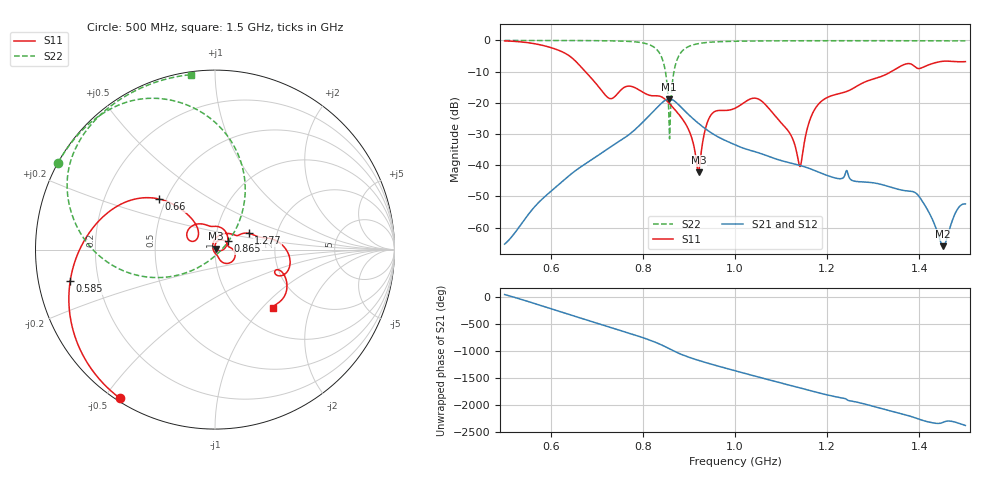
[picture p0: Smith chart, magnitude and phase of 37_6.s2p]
! TOUCHSTONE file generated by CST MICROWAVE STUDIO
! Date and time: Fri Oct  2 19:02:30 2020
! Project name: Scenario_1_Free_Space_out_of_line.cst
! Parameters = {Lambda=346.42; Step_1=17.321; dy1=-276.636; dx1=1039; L_HA=400; MT=2.54; Rad_Dielectric=30; Rad_Lower=7.3; Rad_Upper=30; a_HA=580; a_WG=246; b_HA=500; b_WG=121; c_HA=0; c_WG=187; d_feed=85; h_feed=15; h_lower=18; h_upper=40}
! Header version: 2018
! Port assignment regex: !\s*Touchstone port\s*([0-9]+)\s*=\s*(CST MWS port|CST DS port)\s*([0-9]+|Zmin|Zmax)\s*\(\"(.*)\"\)(\s*mode\s*([0-9]+))?.*
! Touchstone port assignment:
! Touchstone port 1 = CST MWS port 1 ("")
! Touchstone port 2 = CST MWS port 2 ("")
# GHz S DB R 50
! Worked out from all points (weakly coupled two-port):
!   1003 points, 500 MHz to 1.5 GHz, reference 50 ohm
!   highest |S21| = -18.76 dB at 857 MHz (marker M1); lowest = -65.9 dB at 1.452 GHz (marker M2)
!   lowest |S11| = -42.2 dB at 921 MHz (marker M3), VSWR 1.02, Z = 50.6 + j0.536 ohm
!   |S11| at or under -10 dB: 675.3 MHz to 1.339 GHz (663.7 MHz wide, 65.9 % of centre)
!   |S22| runs from -31.5 to 0.0 dB; largest |S21 - S12| = 0.00047
!   S11 on the Smith chart (normalised r, x): 500 MHz: 0.01, -0.55; 585 MHz: 0.10, -0.11; 660 MHz: 0.46, +0.31; 865 MHz: 1.15, +0.11; 1.277 GHz: 1.43, +0.27; 1.5 GHz: 1.40, -1.15
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0.5  -0.15 -122.6  -65.26 36.9  -65.26 36.9  -0.01 151.1
0.585  -1.67 -167.8  -50.34 176.0  -50.34 176.0  -0.02 145.2
0.66  -7.55 137.8  -41.06 -24.7  -41.06 -24.7  -0.04 139.0
0.667  -8.67 134.3  -40.35 -43.8  -40.35 -43.8  -0.04 138.3
0.727  -18.55 143.4  -34.40 156.1  -34.40 156.1  -0.12 131.2
0.834  -17.78 81.3  -21.04 -150.3  -21.04 -150.3  -3.57 85.9
0.847  -18.71 59.6  -19.32 158.9  -19.32 158.9  -8.47 63.5
0.857  -20.13 44.0  -18.76 115.5  -18.76 115.5  -26.34 13.5
0.865  -21.42 32.9  -19.08 80.6  -19.08 80.6  -12.40 -144.5
0.881  -24.22 13.0  -21.09 18.5  -21.09 18.5  -4.21 -174.4
0.921  -42.20 43.0  -26.60 -101.5  -26.60 -101.5  -1.01 157.6
0.947  -24.05 59.1  -29.47 -167.8  -29.47 -167.8  -0.55 149.7
1  -21.73 9.5  -33.43 67.0  -33.43 67.0  -0.26 140.2
1.059  -19.58 -47.1  -36.40 -67.4  -36.40 -67.4  -0.16 133.5
1.118  -29.53 -71.0  -39.18 160.3  -39.18 160.3  -0.11 128.1
1.141  -40.38 -158.3  -40.04 107.9  -40.04 107.9  -0.10 126.2
1.167  -23.80 85.4  -41.33 49.1  -41.33 49.1  -0.10 124.2
1.277  -13.64 25.8  -45.33 -179.1  -45.34 -179.2  -0.08 115.8
1.334  -10.42 12.4  -46.84 50.7  -46.84 50.7  -0.09 111.4
1.396  -8.95 -21.2  -49.37 -100.2  -49.37 -100.2  -0.10 106.6
1.452  -6.67 -32.3  -65.92 -165.8  -65.91 -165.8  -0.12 102.0
1.5  -6.79 -45.4  -52.38 134.9  -52.38 134.9  -0.14 97.8
